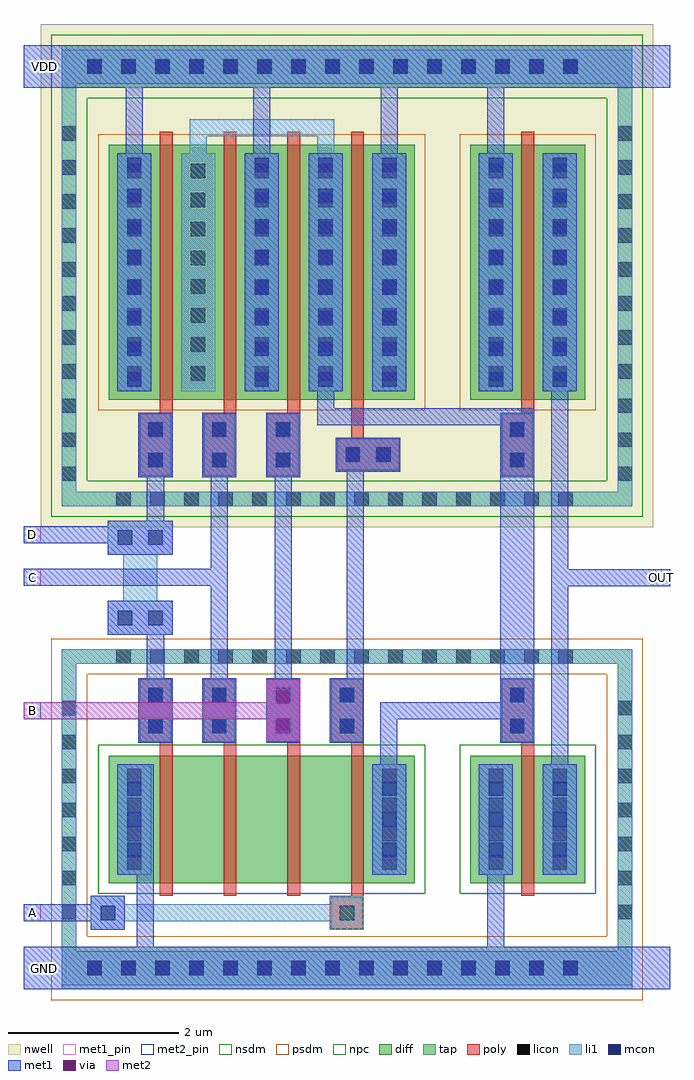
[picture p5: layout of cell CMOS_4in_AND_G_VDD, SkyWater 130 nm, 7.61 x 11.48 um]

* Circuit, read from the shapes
.subckt CMOS_4in_AND_G_VDD A B C D GND OUT VDD
XM1 n1 D GND GND sky130_fd_pr__nfet_01v8 w=1.5 l=0.15
XM2 n2 C n1 GND sky130_fd_pr__nfet_01v8 w=1.5 l=0.15
XM3 n3 B n2 GND sky130_fd_pr__nfet_01v8 w=1.5 l=0.15
XM4 n4 A n3 GND sky130_fd_pr__nfet_01v8 w=1.5 l=0.15
XM5 OUT n4 GND GND sky130_fd_pr__nfet_01v8 w=1.5 l=0.15
XM6 n4 D VDD VDD sky130_fd_pr__pfet_01v8 w=3 l=0.15
XM7 VDD C n4 VDD sky130_fd_pr__pfet_01v8 w=3 l=0.15
XM8 n4 B VDD VDD sky130_fd_pr__pfet_01v8 w=3 l=0.15
XM9 VDD A n4 VDD sky130_fd_pr__pfet_01v8 w=3 l=0.15
XM10 OUT n4 VDD VDD sky130_fd_pr__pfet_01v8 w=3 l=0.15
.ends

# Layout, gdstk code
import gdstk
lib = gdstk.Library(unit=1e-6, precision=1e-09)
def R(c, l, rs):  # rectangles x0, y0, x1, y1
    for r in rs: c.add(gdstk.rectangle(r[:2], r[2:], *l))
def A(c, l, x, y, w, h, nx, ny, dx, dy):  # array of equal rectangles
    R(c, l, [(x+i*dx, y+j*dy, x+i*dx+w, y+j*dy+h) for i in range(nx) for j in range(ny)])
nwell = (64, 20)
diff = (65, 20)
tap = (65, 44)
poly = (66, 20)
licon = (66, 44)
li1 = (67, 20)
mcon = (67, 44)
met1_pin = (68, 16)
met1 = (68, 20)
via = (68, 44)
met2_pin = (69, 16)
met2 = (69, 20)
nsdm = (93, 44)
psdm = (94, 20)
npc = (95, 20)

cmos_4in_and_g_vdd = lib.new_cell('CMOS_4in_AND_G_VDD')
R(cmos_4in_and_g_vdd, nwell, [(0.2,5.56,7.405,11.48)])
R(cmos_4in_and_g_vdd, diff, [(1,1.375,4.6,2.875), (5.255,1.375,6.605,2.875), (1,7.06,4.6,10.06), (5.255,7.06,6.605,10.06)])
R(cmos_4in_and_g_vdd, tap, [(0.45,0.125,7.155,0.625), (0.45,0.625,0.62,3.955), (6.985,0.625,7.155,3.955), (0.45,3.955,7.155,4.125), (0.45,5.81,7.155,5.98), (0.45,5.98,0.62,10.73), (6.985,5.98,7.155,10.73), (0.45,10.73,7.155,11.23)])
A(cmos_4in_and_g_vdd, poly, 1.6, 1.225, 0.15, 1.8, 4, 1, 0.75, 0)
A(cmos_4in_and_g_vdd, poly, 1.35, 3.025, 0.4, 0.76, 4, 1, 0.75, 0)
A(cmos_4in_and_g_vdd, poly, 1.35, 6.15, 0.4, 0.76, 3, 1, 0.75, 0)
A(cmos_4in_and_g_vdd, poly, 1.6, 6.91, 0.15, 3.3, 3, 1, 0.75, 0)
R(cmos_4in_and_g_vdd, poly, [(3.6,0.825,4,1.225), (5.855,1.225,6.005,3.025), (5.605,3.025,6.005,3.785), (5.605,6.15,6.005,6.91), (3.67,6.215,4.43,6.615), (3.85,6.615,4,10.21), (5.855,6.91,6.005,10.21)])
A(cmos_4in_and_g_vdd, licon, 0.745, 0.29, 0.17, 0.17, 15, 2, 0.4, 10.605)
A(cmos_4in_and_g_vdd, licon, 0.45, 0.95, 0.17, 0.17, 1, 7, 0, 0.4)
A(cmos_4in_and_g_vdd, licon, 6.985, 0.95, 0.17, 0.17, 1, 7, 0, 0.4)
A(cmos_4in_and_g_vdd, licon, 1.215, 1.53, 0.17, 0.17, 1, 4, 0, 0.34)
A(cmos_4in_and_g_vdd, licon, 4.215, 1.53, 0.17, 0.17, 1, 4, 0, 0.34)
A(cmos_4in_and_g_vdd, licon, 5.47, 1.53, 0.17, 0.17, 1, 4, 0, 0.34)
A(cmos_4in_and_g_vdd, licon, 6.22, 1.53, 0.17, 0.17, 1, 4, 0, 0.34)
A(cmos_4in_and_g_vdd, licon, 1.465, 3.14, 0.17, 0.17, 4, 2, 0.75, 0.36)
A(cmos_4in_and_g_vdd, licon, 1.09, 3.955, 0.17, 0.17, 14, 2, 0.4, 1.855)
A(cmos_4in_and_g_vdd, licon, 0.45, 6.105, 0.17, 0.17, 1, 11, 0, 0.4)
A(cmos_4in_and_g_vdd, licon, 6.985, 6.105, 0.17, 0.17, 1, 11, 0, 0.4)
A(cmos_4in_and_g_vdd, licon, 1.465, 6.265, 0.17, 0.17, 3, 2, 0.75, 0.36)
A(cmos_4in_and_g_vdd, licon, 1.215, 7.285, 0.17, 0.17, 5, 8, 0.75, 0.34)
A(cmos_4in_and_g_vdd, licon, 5.47, 7.285, 0.17, 0.17, 1, 8, 0, 0.34)
A(cmos_4in_and_g_vdd, licon, 6.22, 7.285, 0.17, 0.17, 1, 8, 0, 0.34)
R(cmos_4in_and_g_vdd, licon, [(3.715,0.94,3.885,1.11), (5.72,3.14,5.89,3.31), (5.72,3.5,5.89,3.67), (5.72,6.265,5.89,6.435), (3.785,6.33,3.955,6.5), (4.145,6.33,4.315,6.5), (5.72,6.625,5.89,6.795)])
A(cmos_4in_and_g_vdd, li1, 1.35, 3.025, 0.4, 0.76, 4, 1, 0.75, 0)
A(cmos_4in_and_g_vdd, li1, 1.35, 6.15, 0.4, 0.76, 3, 1, 0.75, 0)
A(cmos_4in_and_g_vdd, li1, 1.1, 7.16, 0.4, 2.8, 5, 1, 0.75, 0)
R(cmos_4in_and_g_vdd, li1, [(0.45,0.175,7.155,0.575), (0.45,0.575,0.62,3.955), (6.985,0.575,7.155,3.955), (0.79,0.825,1.19,0.925), (3.6,0.825,4,0.925), (0.79,0.925,4,1.125), (0.79,1.125,1.19,1.225), (3.6,1.125,4,1.225), (1.1,1.475,1.5,2.775), (4.1,1.475,4.5,2.775), (5.355,1.475,5.755,2.775), (6.105,1.475,6.505,2.775), (5.605,3.025,6.005,3.785), (0.45,3.955,7.155,4.125), (0.99,4.295,1.75,4.695), (1.17,4.695,1.57,5.24), (0.99,5.24,1.75,5.64), (0.45,5.81,7.155,5.98), (0.45,5.98,0.62,10.78), (6.985,5.98,7.155,10.78), (5.605,6.15,6.005,6.91), (3.67,6.215,4.43,6.615), (5.355,7.16,5.755,9.96), (6.105,7.16,6.505,9.96), (1.95,9.96,2.15,10.16), (3.45,9.96,3.65,10.16), (1.95,10.16,3.65,10.36), (0.45,10.78,7.155,11.18)])
A(cmos_4in_and_g_vdd, mcon, 0.745, 0.29, 0.17, 0.17, 15, 2, 0.4, 10.605)
A(cmos_4in_and_g_vdd, mcon, 1.215, 1.68, 0.17, 0.17, 1, 3, 0, 0.36)
A(cmos_4in_and_g_vdd, mcon, 4.215, 1.68, 0.17, 0.17, 1, 3, 0, 0.36)
A(cmos_4in_and_g_vdd, mcon, 5.47, 1.68, 0.17, 0.17, 1, 3, 0, 0.36)
A(cmos_4in_and_g_vdd, mcon, 6.22, 1.68, 0.17, 0.17, 1, 3, 0, 0.36)
A(cmos_4in_and_g_vdd, mcon, 1.465, 3.14, 0.17, 0.17, 4, 2, 0.75, 0.36)
A(cmos_4in_and_g_vdd, mcon, 1.465, 6.265, 0.17, 0.17, 3, 2, 0.75, 0.36)
A(cmos_4in_and_g_vdd, mcon, 1.215, 7.215, 0.17, 0.17, 1, 8, 0, 0.36)
A(cmos_4in_and_g_vdd, mcon, 2.715, 7.215, 0.17, 0.17, 3, 8, 0.75, 0.36)
A(cmos_4in_and_g_vdd, mcon, 5.47, 7.215, 0.17, 0.17, 1, 8, 0, 0.36)
A(cmos_4in_and_g_vdd, mcon, 6.22, 7.215, 0.17, 0.17, 1, 8, 0, 0.36)
R(cmos_4in_and_g_vdd, mcon, [(0.905,0.94,1.075,1.11), (5.72,3.14,5.89,3.31), (5.72,3.5,5.89,3.67), (1.105,4.41,1.275,4.58), (1.465,4.41,1.635,4.58), (1.105,5.355,1.275,5.525), (1.465,5.355,1.635,5.525), (5.72,6.265,5.89,6.435), (3.785,6.33,3.955,6.5), (4.145,6.33,4.315,6.5), (5.72,6.625,5.89,6.795)])
R(cmos_4in_and_g_vdd, met1_pin, [(0,0.125,0.5,0.625), (0,0.925,0.2,1.125), (7.405,4.865,7.605,5.065), (0,4.87,0.2,5.07), (0,5.37,0.2,5.57), (0,10.73,0.5,11.23)])
A(cmos_4in_and_g_vdd, met1, 1.35, 3.025, 0.4, 0.76, 4, 1, 0.75, 0)
A(cmos_4in_and_g_vdd, met1, 1.35, 6.15, 0.4, 0.76, 3, 1, 0.75, 0)
A(cmos_4in_and_g_vdd, met1, 2.6, 7.16, 0.4, 2.8, 3, 1, 0.75, 0)
A(cmos_4in_and_g_vdd, met1, 1.2, 9.96, 0.2, 0.77, 3, 1, 1.5, 0)
R(cmos_4in_and_g_vdd, met1, [(0,0.125,7.605,0.625), (1.33,0.625,1.53,1.475), (5.455,0.625,5.655,1.475), (0.79,0.825,1.19,0.925), (0,0.925,1.19,1.125), (0.79,1.125,1.19,1.225), (1.1,1.475,1.53,2.775), (4.1,1.475,4.5,2.775), (5.355,1.475,5.755,2.775), (6.105,1.475,6.505,2.775), (4.195,2.775,4.395,3.305), (6.205,2.775,6.405,4.865), (5.605,3.025,6.005,3.305), (4.195,3.305,6.005,3.505), (5.605,3.505,6.005,6.76), (1.45,3.785,1.65,4.295), (2.2,3.785,2.4,4.87), (2.95,3.785,3.15,6.15), (3.8,3.785,4,6.215), (0.99,4.295,1.75,4.695), (6.205,4.865,7.605,5.065), (0,4.87,2.4,5.07), (6.205,5.065,6.405,7.16), (2.2,5.07,2.4,6.15), (0.99,5.24,1.75,5.37), (0,5.37,1.75,5.57), (0.99,5.57,1.75,5.64), (1.45,5.64,1.65,6.15), (3.67,6.215,4.43,6.615), (3.45,6.76,6.005,6.96), (3.45,6.96,3.65,7.16), (1.1,7.16,1.5,9.96), (5.355,7.16,5.755,9.96), (6.105,7.16,6.505,9.96), (5.455,9.96,5.655,10.73), (0,10.73,7.605,11.23)])
R(cmos_4in_and_g_vdd, via, [(2.975,3.165,3.125,3.315), (2.975,3.485,3.125,3.635)])
R(cmos_4in_and_g_vdd, met2_pin, [(0,3.305,0.2,3.505)])
R(cmos_4in_and_g_vdd, met2, [(2.85,3.04,3.25,3.305), (0,3.305,3.25,3.505), (2.85,3.505,3.25,3.77)])
R(cmos_4in_and_g_vdd, nsdm, [(0.875,1.25,4.725,3), (5.13,1.25,6.73,3), (0.325,5.685,7.28,6.105), (0.325,6.105,0.745,10.605), (6.86,6.105,7.28,10.605), (0.325,10.605,7.28,11.355)])
R(cmos_4in_and_g_vdd, psdm, [(0.325,0,7.28,0.75), (0.325,0.75,0.745,3.83), (6.86,0.75,7.28,3.83), (0.325,3.83,7.28,4.25), (0.875,6.935,4.725,10.185), (5.13,6.935,6.73,10.185)])
A(cmos_4in_and_g_vdd, npc, 1.365, 3.04, 0.37, 0.73, 4, 1, 0.75, 0)
A(cmos_4in_and_g_vdd, npc, 1.365, 6.165, 0.37, 0.73, 3, 1, 0.75, 0)
R(cmos_4in_and_g_vdd, npc, [(3.615,0.84,3.985,1.21), (5.62,3.04,5.99,3.77), (5.62,6.165,5.99,6.895), (3.685,6.23,4.415,6.6)])
cmos_4in_and_g_vdd.add(gdstk.Label('D', (0.1,5.47), layer=68, texttype=5))
cmos_4in_and_g_vdd.add(gdstk.Label('C', (0.1,4.97), layer=68, texttype=5))
cmos_4in_and_g_vdd.add(gdstk.Label('A', (0.1,1.025), layer=68, texttype=5))
cmos_4in_and_g_vdd.add(gdstk.Label('OUT', (7.505,4.965), layer=68, texttype=5))
cmos_4in_and_g_vdd.add(gdstk.Label('GND', (0.25,0.375), layer=68, texttype=5))
cmos_4in_and_g_vdd.add(gdstk.Label('VDD', (0.25,10.98), layer=68, texttype=5))
cmos_4in_and_g_vdd.add(gdstk.Label('B', (0.1,3.405), layer=69, texttype=5))

lib.write_gds('CMOS_4in_AND_G_VDD.gds')
